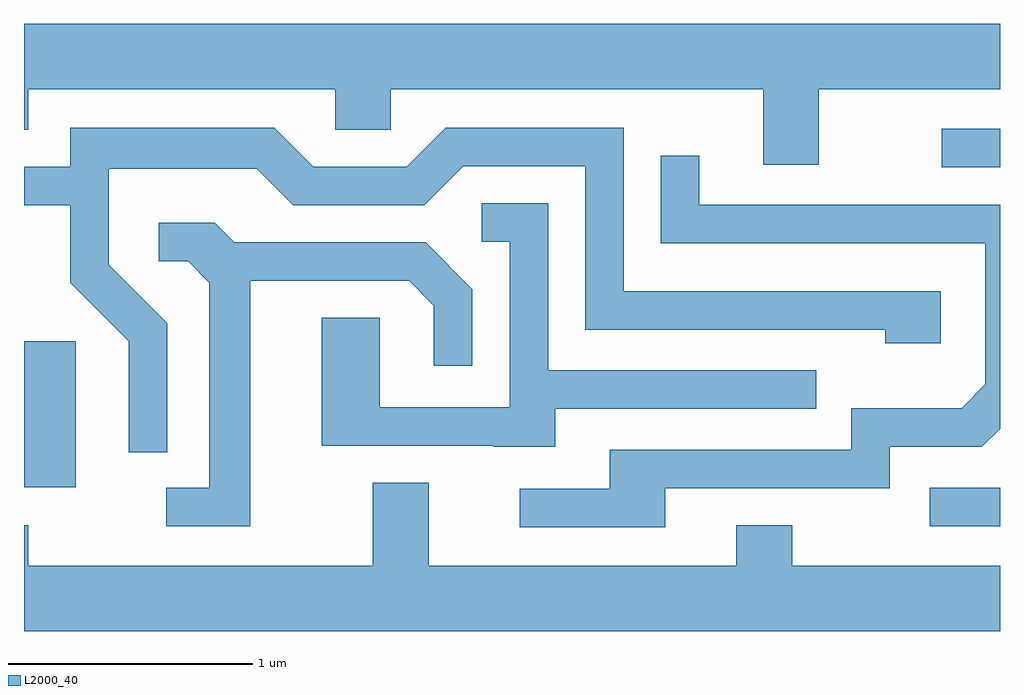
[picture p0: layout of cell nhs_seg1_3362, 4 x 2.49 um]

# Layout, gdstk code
import gdstk
lib = gdstk.Library(unit=1e-6, precision=1e-09)
def R(c, l, rs):  # rectangles x0, y0, x1, y1
    for r in rs: c.add(gdstk.rectangle(r[:2], r[2:], *l))
def P(c, l, *ps):  # polygons
    for p in ps: c.add(gdstk.Polygon(p, *l))
L2000_40 = (2000, 40)

nhs_seg1_3362 = lib.new_cell('nhs_seg1_3362')
R(nhs_seg1_3362, L2000_40, [(289.323,975.486,289.611,975.644), (285.611,975.646,285.824,976.244), (289.373,976.956,289.611,977.114)])
P(nhs_seg1_3362, L2000_40, [(288.869,977.276),(289.611,977.276),(289.611,977.544),(285.611,977.544),(285.611,977.111),(285.629,977.111),(285.629,977.276),(286.886,977.276),(286.886,977.111),(287.114,977.111),(287.114,977.276),(288.641,977.276),(288.641,976.966),(288.869,976.966)],
  [(286.199,976.317),(285.959,976.557),(285.959,976.951),(286.564,976.951),(286.714,976.801),(287.252,976.801),(287.412,976.961),(287.911,976.961),(287.911,976.291),(289.141,976.291),(289.141,976.236),(289.369,976.236),(289.369,976.449),(288.069,976.449),(288.069,977.119),(287.339,977.119),(287.179,976.959),(286.797,976.959),(286.637,977.119),(285.801,977.119),(285.801,976.959),(285.611,976.959),(285.611,976.801),(285.801,976.801),(285.801,976.484),(286.041,976.244),(286.041,975.788),(286.199,975.788)],
  [(288.239,975.641),(289.159,975.641),(289.159,975.811),(289.537,975.811),(289.611,975.885),(289.611,976.804),(288.379,976.804),(288.379,977.003),(288.221,977.003),(288.221,976.646),(289.551,976.646),(289.551,976.067),(289.454,975.969),(289.001,975.969),(289.001,975.799),(288.011,975.799),(288.011,975.639),(287.643,975.639),(287.643,975.481),(288.239,975.481)],
  [(287.789,975.966),(288.858,975.966),(288.858,976.124),(287.759,976.124),(287.759,976.809),(287.488,976.809),(287.488,976.651),(287.601,976.651),(287.601,975.974),(287.069,975.974),(287.069,976.339),(286.831,976.339),(286.831,975.816),(287.535,975.816),(287.535,975.811),(287.789,975.811)],
  [(286.539,976.491),(287.189,976.491),(287.291,976.389),(287.291,976.143),(287.449,976.143),(287.449,976.457),(287.257,976.649),(286.472,976.649),(286.392,976.729),(286.163,976.729),(286.163,976.571),(286.284,976.571),(286.371,976.484),(286.371,975.644),(286.193,975.644),(286.193,975.486),(286.539,975.486)],
  [(289.611,975.324),(288.759,975.324),(288.759,975.489),(288.531,975.489),(288.531,975.324),(287.269,975.324),(287.269,975.664),(287.041,975.664),(287.041,975.324),(285.629,975.324),(285.629,975.489),(285.611,975.489),(285.611,975.056),(289.611,975.056)])

lib.write_gds('nhs_seg1_3362.gds')
